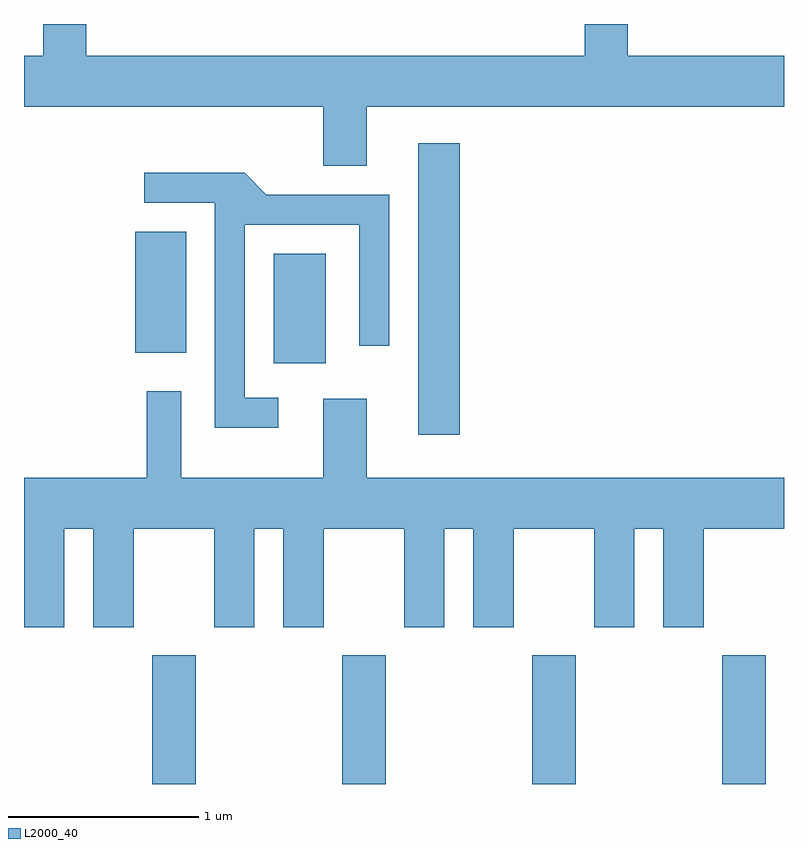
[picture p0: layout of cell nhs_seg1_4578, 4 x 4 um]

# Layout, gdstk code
import gdstk
lib = gdstk.Library(unit=1e-6, precision=1e-09)
def R(c, l, rs):  # rectangles x0, y0, x1, y1
    for r in rs: c.add(gdstk.rectangle(r[:2], r[2:], *l))
def A(c, l, x, y, w, h, nx, ny, dx, dy):  # array of equal rectangles
    R(c, l, [(x+i*dx, y+j*dy, x+i*dx+w, y+j*dy+h) for i in range(nx) for j in range(ny)])
def P(c, l, *ps):  # polygons
    for p in ps: c.add(gdstk.Polygon(p, *l))
L2000_40 = (2000, 40)

nhs_seg1_4578 = lib.new_cell('nhs_seg1_4578')
A(nhs_seg1_4578, L2000_40, 322.286, 973.712, 0.228, 0.677, 4, 1, 1, 0)
R(nhs_seg1_4578, L2000_40, [(323.686,975.551,323.904,977.084), (322.926,975.926,323.199,976.504), (322.196,975.981,322.464,976.619)])
P(nhs_seg1_4578, L2000_40, [(323.414,977.276),(325.611,977.276),(325.611,977.544),(324.789,977.544),(324.789,977.712),(324.561,977.712),(324.561,977.544),(321.939,977.544),(321.939,977.712),(321.711,977.712),(321.711,977.544),(321.611,977.544),(321.611,977.276),(323.186,977.276),(323.186,976.966),(323.414,976.966)],
  [(322.948,975.744),(322.774,975.744),(322.774,976.656),(323.376,976.656),(323.376,976.018),(323.534,976.018),(323.534,976.814),(322.887,976.814),(322.772,976.929),(322.243,976.929),(322.243,976.771),(322.616,976.771),(322.616,975.586),(322.948,975.586)],
  [(321.824,975.056),(321.976,975.056),(321.976,974.536),(322.189,974.536),(322.189,975.056),(322.611,975.056),(322.611,974.536),(322.824,974.536),(322.824,975.056),(322.976,975.056),(322.976,974.536),(323.189,974.536),(323.189,975.056),(323.611,975.056),(323.611,974.536),(323.824,974.536),(323.824,975.056),(323.976,975.056),(323.976,974.536),(324.189,974.536),(324.189,975.056),(324.611,975.056),(324.611,974.536),(324.824,974.536),(324.824,975.056),(324.976,975.056),(324.976,974.536),(325.189,974.536),(325.189,975.056),(325.611,975.056),(325.611,975.324),(323.414,975.324),(323.414,975.739),(323.186,975.739),(323.186,975.324),(322.439,975.324),(322.439,975.779),(322.256,975.779),(322.256,975.324),(321.611,975.324),(321.611,974.536),(321.824,974.536)])

lib.write_gds('nhs_seg1_4578.gds')
